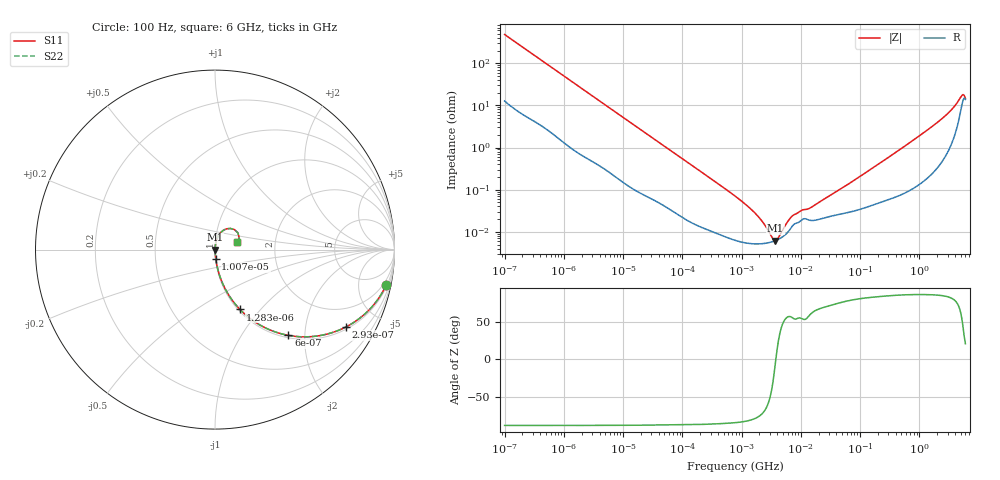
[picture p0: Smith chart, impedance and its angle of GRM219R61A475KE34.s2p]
!Murata Part Number: GRM219R61A475KE34
!These Parameters are Measured in Series Mode Connection
!Data Generated on Mar 30, 2021
!  o--ll--o
!Port1  Port2
!  o------o
!Operation Temp=25[degC], DC Bias Voltage=0[V]
!Freq. Start=100[Hz] Stop=6[GHz] 401[Steps]
# Hz S RI R 50
!Freq.(Hz) S11(Real) S11(Imag) S21(Real) S21(Imag) S12(Real) S12(Imag) S22(Real) S22(Imag)
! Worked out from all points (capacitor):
!   401 points, 100 Hz to 6 GHz, reference 50 ohm
!   read as one part in series: C = 3.29 uF near 109 Hz
!   lowest |Z| = 6.2 mohm at 3.712 MHz (marker M1)
!   series resonance near 3.796 MHz, so ESL is about 530 pH
!   S11 on the Smith chart (normalised r, x): 100 Hz: 1.25, -9.64; 293 Hz: 1.09, -3.34; 600 Hz: 1.05, -1.65; 1.283 kHz: 1.02, -0.78; 10.07 kHz: 1.00, -0.10; 6 GHz: 1.28, +0.10
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100  0.954 -0.1968  0.046 0.1968  0.046 0.1968  0.954 -0.1968
179  0.8742 -0.3194  0.1258 0.3194  0.1258 0.3194  0.8742 -0.3194
293  0.7303 -0.4306  0.2697 0.4306  0.2697 0.4306  0.7303 -0.4306
600  0.4085 -0.4779  0.5915 0.4779  0.5915 0.4779  0.4085 -0.4779
1283  0.1389 -0.3333  0.8611 0.3333  0.8611 0.3333  0.1389 -0.3333
2008  0.0648 -0.2335  0.9352 0.2335  0.9352 0.2335  0.0648 -0.2335
4111  0.0186 -0.1216  0.9814 0.1216  0.9814 0.1216  0.0186 -0.1216
10066  0.00412 -0.0514  0.9959 0.0514  0.9959 0.0514  0.00412 -0.0514
40335  0.00066 -0.0132  0.9993 0.0132  0.9993 0.0132  0.00066 -0.0132
774597  6.35e-05 -0.000705  0.9999 0.000705  0.9999 0.000705  6.35e-05 -0.000705
1658239  5.18e-05 -0.000281  0.9999 0.000281  0.9999 0.000281  5.18e-05 -0.000281
2837864  5.51e-05 -8.96e-05  0.9999 8.96e-05  0.9999 8.96e-05  5.51e-05 -8.96e-05
3712478  6.16e-05 -6.7e-06  0.9999 6.7e-06  0.9999 6.7e-06  6.16e-05 -6.7e-06
4643984  7.2e-05 6.2e-05  0.9999 -6.2e-05  0.9999 -6.2e-05  7.2e-05 6.2e-05
6644369  0.000117 0.000177  0.9999 -0.000177  0.9999 -0.000177  0.000117 0.000177
7599586  0.000149 0.000203  0.9999 -0.000203  0.9999 -0.000203  0.000149 0.000203
1.555665e7  0.000186 0.000347  0.9998 -0.000347  0.9998 -0.000347  0.000186 0.000347
3.124326e8  0.000626 0.00601  0.9994 -0.00601  0.9994 -0.00601  0.000626 0.00601
2.240541e9  0.00588 0.0438  0.9941 -0.0438  0.9941 -0.0438  0.00588 0.0438
3.8344e9  0.0245 0.0861  0.9755 -0.0861  0.9755 -0.0861  0.0245 0.0861
5.016141e9  0.0856 0.1178  0.9144 -0.1178  0.9144 -0.1178  0.0856 0.1178
6e9  0.1231 0.0398  0.8769 -0.0398  0.8769 -0.0398  0.1231 0.0398
